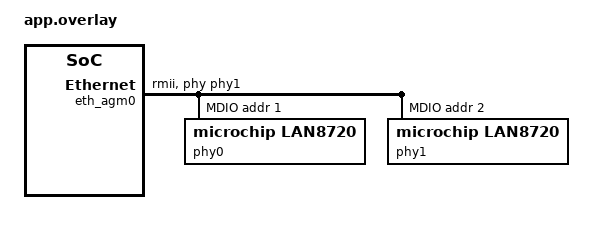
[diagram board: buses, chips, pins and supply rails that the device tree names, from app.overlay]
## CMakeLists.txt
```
# SPDX-License-Identifier: Apache-2.0
#
# native_sim suite for drivers/ethernet/phy/phy_agm_lan8720.c (ETH half).

cmake_minimum_required(VERSION 3.20.0)
find_package(Zephyr REQUIRED HINTS $ENV{ZEPHYR_BASE})
project(phy_agm_lan8720_native)

set(AGM_NATIVE_DIR ${CMAKE_CURRENT_SOURCE_DIR}/../../common/agm_native)

# agm_native also carries agm_fake_mdio_phy.h (the clause-22 PHY model).
zephyr_include_directories(${AGM_NATIVE_DIR}
	${CMAKE_CURRENT_SOURCE_DIR}/../../../../soc/agm/agrv2k)

target_sources(app PRIVATE
	src/main.c
	${AGM_NATIVE_DIR}/agm_fake_mmio.c
	${AGM_NATIVE_DIR}/agm_fake_mdio_phy.c
	${CMAKE_CURRENT_SOURCE_DIR}/../../../../soc/agm/agrv2k/pinctrl.c
)
```

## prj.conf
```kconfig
# SPDX-License-Identifier: Apache-2.0
#
# native_sim suite for drivers/ethernet/phy/phy_agm_lan8720.c.
#
# The PHY node's parent is the MAC (its MDIO bus), so the same minimal net
# configuration the MDIO suite needs comes along: ETH_AGM selects the Ethernet
# L2, and net_pkt wants a protocol selected.
CONFIG_ZTEST=y
CONFIG_ETH_PHY_DRIVER=y
CONFIG_MDIO=y
CONFIG_GPIO=y
CONFIG_PINCTRL=y
CONFIG_NETWORKING=y
CONFIG_NET_L2_ETHERNET=y
CONFIG_NET_IPV4=y
CONFIG_NET_IPV6=n
CONFIG_NET_CONFIG_SETTINGS=n
CONFIG_NET_PKT_RX_COUNT=2
CONFIG_NET_PKT_TX_COUNT=2
CONFIG_NET_BUF_RX_COUNT=4
CONFIG_NET_BUF_TX_COUNT=4
CONFIG_MAIN_STACK_SIZE=4096
CONFIG_ZTEST_STACK_SIZE=4096
```

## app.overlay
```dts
/* SPDX-License-Identifier: Apache-2.0 */
/*
 * Devicetree for the native LAN8720 suite: MAC0 (real address) -> mdio0 ->
 * phy0 at prtad 1, exactly like the board's lan8720_* overlays minus the
 * reset GPIO (the board does not have one either: it soft-resets over MII).
 *
 * No PHY answers on this bus -- the MDIO register is RAM, so reads come back
 * as the last command written (see tests/drivers/ethernet/mdio_agm). That is
 * not a limitation here: the case this suite exists for is precisely "the PHY
 * does not answer", which is why the reset/probe moved off the init thread and
 * onto the monitor work.
 */

#include <zephyr/dt-bindings/pinctrl/agm-agrv2k-pinctrl.h>

/ {
	fake_intc: interrupt-controller {
		compatible = "vnd,fake-intc";
		interrupt-controller;
		#interrupt-cells = <2>;
	};

	agm_pinctrl: pinctrl {
		compatible = "agm,agrv2k-pinctrl";
		status = "okay";

		eth0_default: eth0_default {
			agm,pins = <AGM_PINCTRL(4, 0, AGM_PINCTRL_OUTPUT)>,
				   <AGM_PINCTRL(4, 0, AGM_PINCTRL_INPUT)>;
		};
	};

	eth_agm0: ethernet@41040000 {
		compatible = "agm,agrv2k-emac";
		reg = <0x41040000 0x28>;
		interrupts = <12 1>;
		interrupt-parent = <&fake_intc>;
		agm,ahb-clkenable-bit = <3>;
		agm,ahb-reset-bit = <3>;
		phy-connection-type = "rmii";
		/* The MAC follows the PHY that answers (phy1), which is how the
		 * suite proves the driver-level link bridge: a fake link-up must
		 * move the net_if carrier without any application glue. */
		phy-handle = <&phy1>;
		local-mac-address = [02 00 5A 5A 00 03];
		pinctrl-0 = <&eth0_default>;
		pinctrl-names = "default";
		status = "okay";

		mdio0: mdio {
			compatible = "agm,agrv2k-mdio";
			#address-cells = <1>;
			#size-cells = <0>;
			status = "okay";

			phy0: ethernet-phy@1 {
				compatible = "microchip,lan8720";
				reg = <1>;
				status = "okay";
			};

			/* A second PHY, at prtad 2, that the model *does* answer:
			 * phy0 is the "nothing on the bus" instance, phy1 is the
			 * one whose ID, autoneg and link transitions the suite drives.
			 * Two instances because the probe runs once, from the monitor
			 * work's first pass, i.e. before any test can change the
			 * model's mind. */
			phy1: ethernet-phy@2 {
				compatible = "microchip,lan8720";
				reg = <2>;
				status = "okay";
			};
		};
	};
};
```

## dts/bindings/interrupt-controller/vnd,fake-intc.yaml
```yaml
# SPDX-License-Identifier: Apache-2.0
#
# Two-cell interrupt controller for the native AGM driver suites.
#
# The AgRV2K MAC binding (the grandparent of the PHY node) requires
# `interrupts`, and native_sim ships no interrupt controller of its own
# (posix.dtsi is a bare skeleton). No driver: just the DT shape.
#
# "vnd" is the vendor prefix Zephyr reserves for exactly this: "a stand-in for
# a real vendor which can be used in examples and tests"
# (dts/bindings/vendor-prefixes.txt).

description: Fake interrupt controller for native AGM driver tests

compatible: "vnd,fake-intc"

include: [interrupt-controller.yaml, base.yaml]

interrupt-cells:
  - irq
  - priority
```

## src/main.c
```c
/*
 * Copyright (c) 2026 AgRV Contributors
 * SPDX-License-Identifier: Apache-2.0
 */

/**
 * @file
 * @brief native_sim suite for drivers/ethernet/phy/phy_agm_lan8720.c.
 *
 * This is the "no PHY on the bus" case, and that is deliberate: it is what the
 * LAN8720's move of its reset + ID probe off
 * the device init thread (where its sleeps held up every later POST_KERNEL
 * device and main()) into the first monitor-work pass. The MDIO register here
 * is a RAM window (tests/drivers/common/agm_native), so no PHY answers and the
 * probe follows its failure path -- which is exactly what used to be visible as
 * "the whole boot waits ~0.4 s for a missing PHY" and as
 * "device_is_ready(phy0) means the PHY answered".
 *
 * What the suite checks:
 *  - the boot does not wait for the PHY (init returns after scheduling the
 *    monitor work; the sleeping probe happens on the workqueue);
 *  - device_is_ready(phy0) is true even though nothing answered -- the
 *    semantic change, pinned so it is a decision and not an
 *    accident;
 *  - a consumer that registers a link callback gets exactly one "down" event
 *    and then silence: the driver remembers the probe failure instead of
 *    hammering the MDIO bus for the rest of the boot;
 *  - the write path (phy_configure_link -> BMCR/ANAR through the MDIO bus) and
 *    the phy_read/phy_write passthroughs reach the MAC's MDIO register with the
 *    right encoding.
 *  - and, since the driver's MDIO register access goes through the weak hooks
 *    described in tests/drivers/common/agm_native/agm_fake_mdio_phy.h, a PHY
 *    that *does* answer: phy1 (prtad 2) has a LAN8720
 *    register file behind it, so the suite also drives the parts that only
 *    exist once a PHY is there -- ID decode, autoneg completion, the link
 *    up/down transitions and the speed the driver reports. phy0 (prtad 1)
 *    stays silent and keeps the "nothing answers" cases honest.
 */

#include <zephyr/device.h>
#include <zephyr/devicetree.h>
#include <zephyr/kernel.h>
#include <zephyr/net/mii.h>
#include <zephyr/net/net_if.h>
#include <zephyr/net/phy.h>
#include <zephyr/ztest.h>

#include "agm_fake_mdio_phy.h"

#define PHY_DEV  DEVICE_DT_GET(DT_NODELABEL(phy0))
#define PHY2_DEV DEVICE_DT_GET(DT_NODELABEL(phy1))
#define ETH_DEV  DEVICE_DT_GET(DT_NODELABEL(eth_agm0))

#define MAC_BASE 0x41040000UL
#define R_MDIO   0x10U

#define MDIO_WRITE         BIT(0)
#define MDIO_READ          BIT(1)
#define MDIO_BUSY          BIT(3)
#define MDIO_REGADDR_SHIFT 6U
#define MDIO_PHYADDR_SHIFT 11U
#define MDIO_DATA_SHIFT    16U

/* The board's PHY straps to prtad 1 (see agrv2k.dtsi's phy0 reg). */
#define PHY_ADDR 1U

/* The one that answers (overlay: phy1). */
#define PHY2_ADDR 2U

/* Two instances of the clause-22 model on one bus, routed by the address in
 * each MDIO command. phy_a is the "nothing answers" case, phy_b the one
 * the link tests drive. */
static struct agm_fake_mdio_phy phy_a;
static struct agm_fake_mdio_phy phy_b;
static uint32_t bus_last_cmd;

static struct agm_fake_mdio_phy *model_for(uint32_t cmd)
{
	uint8_t prtad = (uint8_t)((cmd >> MDIO_PHYADDR_SHIFT) & 0x1fU);

	if (prtad == PHY_ADDR) {
		return &phy_a;
	}
	if (prtad == PHY2_ADDR) {
		return &phy_b;
	}
	return NULL;
}

uint32_t mdio_agm_reg_read(const struct device *dev)
{
	struct agm_fake_mdio_phy *phy = model_for(bus_last_cmd);

	ARG_UNUSED(dev);

	if (phy == NULL || !phy->present) {
		/* Nobody answers at that address: DATA reads 0, exactly what the
		 * RAM window gives (and what phy0's cases rely on). */
		return bus_last_cmd;
	}
	return agm_fake_mdio_phy_reg_read(phy);
}

void mdio_agm_reg_write(const struct device *dev, uint32_t val)
{
	ARG_UNUSED(dev);

	bus_last_cmd = val;
	/* Keep the RAM window in sync: the driver's own encoding assertions
	 * (test_04/test_05) read the command back from there. */
	*(volatile uint32_t *)(MAC_BASE + R_MDIO) = val;

	agm_fake_mdio_phy_reg_write(&phy_a, val);
	agm_fake_mdio_phy_reg_write(&phy_b, val);
}

static uint32_t mdio_reg(void)
{
	return *(volatile uint32_t *)(MAC_BASE + R_MDIO);
}

static uint32_t mdio_data(void)
{
	return (mdio_reg() >> MDIO_DATA_SHIFT) & 0xffffU;
}

static uint32_t mdio_regad(void)
{
	return (mdio_reg() >> MDIO_REGADDR_SHIFT) & 0x1fU;
}

static int link_events;
static const struct device *cb_dev;
static struct phy_link_state last_state;

static void link_cb(const struct device *dev, struct phy_link_state *state, void *user_data)
{
	ARG_UNUSED(user_data);

	cb_dev = dev;
	last_state = *state;
	link_events++;
}

/*
 * Boot-time model, i.e. before the PHY driver's monitor work runs its one and
 * only probe: phy0 (prtad 1) is silent, phy1 (prtad 2) is a LAN8720 that has
 * completed autoneg and whose link is still down.
 */
static int phy_suite_boot_model(void)
{
	agm_fake_mdio_phy_init(&phy_a, NULL, PHY_ADDR);
	phy_a.present = false;

	agm_fake_mdio_phy_init(&phy_b, NULL, PHY2_ADDR);
	phy_b.present = true;
	agm_fake_mdio_phy_set_link(&phy_b, false);

	return 0;
}

SYS_INIT(phy_suite_boot_model, EARLY, 2);

ZTEST_SUITE(phy_agm_lan8720, NULL, NULL, NULL, NULL, NULL);

/* ---- the probe no longer runs on the init thread ---------------------- */

ZTEST(phy_agm_lan8720, test_01_boot_does_not_wait_for_the_phy)
{
	/* With the reset + probe still inside phy_agm_lan8720_init() this number
	 * was the probe: k_sleep(25) + one 50 ms soft-reset poll per attempt, up
	 * to PHY_LAN8720_ID_PROBE_RETRIES extra rounds -- ~375 ms with no PHY
	 * answering, all of it in the init thread, before ztest could even
	 * start. It is now the boot itself (a few ms). The before/after is in
	 * phy_agm_lan8720_probe()'s header comment; this is
	 * the same guard where it can run in CI. */
	zassert_true(k_uptime_get() < 100, "init did not sleep for the PHY (uptime %lld ms)",
		     k_uptime_get());
}

ZTEST(phy_agm_lan8720, test_02_device_is_ready_although_no_phy_answers)
{
	zassert_true(device_is_ready(PHY_DEV),
		     "the PHY device is ready even though the bus stays silent -- readiness means "
		     "\"driver initialised\", not \"the PHY answered\"");
}

ZTEST(phy_agm_lan8720, test_03_silent_bus_reports_link_down_once)
{
	link_events = 0;
	zassert_ok(phy_link_callback_set(PHY_DEV, link_cb, NULL), "callback registered");

	/* phy_agm_lan8720_link_cb_set() fires the current state right away, so the
	 * consumer sees "down" without having to race the monitor work. */
	zassert_equal(link_events, 1, "the registered callback saw the current state once");
	zassert_false(last_state.is_up, "a silent bus is not a link");

	/* Then it must go quiet: the probe failed, so the monitor work returns
	 * without polling (probe_failed) instead of waking every 500 ms. */
	k_sleep(K_MSEC(CONFIG_PHY_MONITOR_PERIOD + 200));
	zassert_equal(link_events, 1, "no further events for a PHY that never answered");

	struct phy_link_state state;

	zassert_ok(phy_get_link_state(PHY_DEV, &state), "link state readable");
	zassert_false(state.is_up, "still down");
	zassert_equal(cb_dev, PHY_DEV, "the event came from the silent PHY");

	zassert_ok(phy_link_callback_set(PHY_DEV, NULL, NULL), "callback removed");
}

/* ---- the write path --------------------------------------------------- */

ZTEST(phy_agm_lan8720, test_04_configure_link_advertises_over_mdio)
{
	/* 100BASE-TX full duplex only: the PHY answers nothing, but the driver
	 * still has to put a correct clause-22 command on the bus.
	 *
	 * phy_mii_cfg_link_autoneg() writes the advertisement (MII_ANAR) first and
	 * then BMCR to start the negotiation, so what a single-register RAM model
	 * can see is that *last* write -- asserting the ANAR bits would only work
	 * with an intercepting model (the same boundary as the I2C suite). */
	zassert_ok(phy_configure_link(PHY_DEV, LINK_FULL_100BASE, 0), "link configured");

	zassert_equal((mdio_reg() >> MDIO_PHYADDR_SHIFT) & 0x1fU, PHY_ADDR, "PHYADDR from DT reg");
	zassert_equal(mdio_regad(), MII_BMCR, "the last write is BMCR (reg %u)", mdio_regad());
	zassert_equal(mdio_data() & MII_BMCR_AUTONEG_ENABLE, MII_BMCR_AUTONEG_ENABLE,
		      "autoneg enabled (BMCR=0x%04x)", mdio_data());
	zassert_equal(mdio_data() & MII_BMCR_AUTONEG_RESTART, MII_BMCR_AUTONEG_RESTART,
		      "autoneg restarted");
	zassert_equal(mdio_data() & (MII_BMCR_SPEED_MASK | MII_BMCR_DUPLEX_MODE), 0U,
		      "no forced speed/duplex while negotiating");
	zassert_equal(mdio_reg() & MDIO_WRITE, MDIO_WRITE, "a write command went out");

	/* A different speed set restarts the negotiation the same way. */
	zassert_ok(phy_configure_link(PHY_DEV, LINK_HALF_10BASE, 0), "reconfigured");
	zassert_equal(mdio_data(), 0x1200U, "the same BMCR command (BMCR=0x%04x)", mdio_data());
}

ZTEST(phy_agm_lan8720, test_05_phy_read_and_write_reach_the_mdio_register)
{
	uint32_t value = 0U;

	zassert_ok(phy_write(PHY_DEV, MII_BMSR, 0x782dU), "phy_write");
	zassert_equal(mdio_data(), 0x782dU, "the payload is on the bus");
	zassert_equal(mdio_regad(), MII_BMSR, "in the caller's register");
	zassert_equal((mdio_reg() >> MDIO_PHYADDR_SHIFT) & 0x1fU, PHY_ADDR, "at the caller's PHY");

	zassert_ok(phy_read(PHY_DEV, MII_BMSR, &value), "phy_read");
	/* The bus is a RAM window: the read answer is the command's own DATA
	 * field, i.e. 0 (documented in tests/drivers/ethernet/mdio_agm). */
	zassert_equal(value, 0U, "mdio_read() answers 0 on a RAM window");
	zassert_equal(mdio_reg() & MDIO_READ, MDIO_READ, "a read command went out");
	zassert_equal(mdio_reg() & MDIO_BUSY, 0U, "nothing left busy");
}

/* ---- the same driver with a PHY that answers ------------------------- */

ZTEST(phy_agm_lan8720, test_06_the_probe_reads_a_lan8720_id)
{
	uint32_t id1 = 0U;
	uint32_t id2 = 0U;

	/* phy1 was probed at boot, before this test existed; the ID the driver
	 * checked is the model's. Reading it back through the driver's own
	 * passthrough shows the data path works both ways. */
	zassert_true(device_is_ready(PHY2_DEV), "the answering PHY is up");
	zassert_ok(phy_read(PHY2_DEV, MII_PHYID1R, &id1), "PHYID1 read");
	zassert_ok(phy_read(PHY2_DEV, MII_PHYID2R, &id2), "PHYID2 read");
	zassert_equal(id1, AGM_FAKE_PHY_ID1, "PHYID1 (got 0x%04x)", id1);
	zassert_equal(id2, AGM_FAKE_PHY_ID2, "PHYID2 (got 0x%04x)", id2);

	/* The bus is addressed by the caller's prtad: the same register read at
	 * phy0's address (nothing there) answers 0. */
	zassert_ok(phy_read(PHY_DEV, MII_PHYID1R, &id1), "read at the silent address");
	zassert_equal(id1, 0U, "the silent PHY answers 0 (got 0x%04x)", id1);
}

ZTEST(phy_agm_lan8720, test_07_link_up_and_down_are_reported_with_the_speed)
{
	struct net_if *iface = net_if_lookup_by_dev(ETH_DEV);
	struct phy_link_state state = { 0 };

	zassert_not_null(iface, "the MAC has an iface");
	zassert_ok(phy_get_link_state(PHY2_DEV, &state), "state readable");
	zassert_false(state.is_up, "phy1 starts with the link down");
	zassert_false(net_if_is_carrier_ok(iface), "and the carrier is off");

	/* Plug the cable in: the monitor work polls BMSR
	 * (CONFIG_PHY_MONITOR_PERIOD) and updates its state with the speed it
	 * decoded from the link partner's advertisement. The suite does NOT
	 * register its own PHY callback here on purpose: a PHY has a single
	 * callback slot and it belongs to the MAC driver (DT phy-handle), which
	 * is exactly the coupling under test. */
	agm_fake_mdio_phy_set_link(&phy_b, true);
	for (int i = 0; i < 20 && !net_if_is_carrier_ok(iface); i++) {
		k_sleep(K_MSEC(CONFIG_PHY_MONITOR_PERIOD / 4 + 50));
	}

	zassert_ok(phy_get_link_state(PHY2_DEV, &state), "state readable");
	zassert_true(state.is_up, "the link came up");
	zassert_equal(state.speed, LINK_FULL_100BASE,
		      "100 Mb full duplex decoded (speed 0x%x)", state.speed);
	zassert_true(net_if_is_carrier_ok(iface),
		     "the PHY's link-up reached the net stack through the MAC driver ");

	/* ... and unplugging it reports the other direction. */
	agm_fake_mdio_phy_set_link(&phy_b, false);
	for (int i = 0; i < 20 && net_if_is_carrier_ok(iface); i++) {
		k_sleep(K_MSEC(CONFIG_PHY_MONITOR_PERIOD / 4 + 50));
	}

	zassert_ok(phy_get_link_state(PHY2_DEV, &state), "state readable");
	zassert_false(state.is_up, "link down again");
	zassert_false(net_if_is_carrier_ok(iface), "and the carrier followed it down");
}

ZTEST(phy_agm_lan8720, test_08_a_silent_phy_zeroes_every_read)
{
	uint32_t value = 0xffffU;

	/* phy0 never answered -- neither its ID nor any status register -- so the
	 * driver's probe stayed failed (it does not retry) and reads keep
	 * returning 0. Pinned because it is the contract that matters here: a missing PHY
	 * costs one attempt, not a polling loop. */
	zassert_ok(phy_read(PHY_DEV, MII_BMSR, &value), "read from the silent PHY");
	zassert_equal(value, 0U, "no PHY, no data (got 0x%04x)", value);

	zassert_ok(phy_get_link_state(PHY_DEV, &last_state), "state readable");
	zassert_false(last_state.is_up, "and the link is down");
}
```
